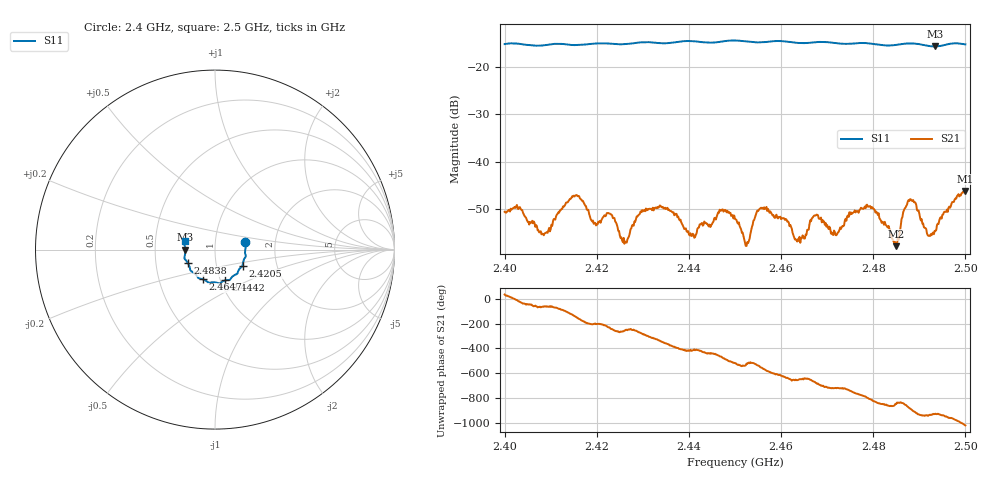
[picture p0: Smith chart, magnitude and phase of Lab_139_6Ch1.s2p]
# Hz S RI R 50
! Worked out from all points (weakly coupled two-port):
!   601 points, 2.4 GHz to 2.5 GHz, reference 50 ohm
!   highest |S21| = -46.14 dB at 2.5 GHz (marker M1); lowest = -57.8 dB at 2.485 GHz (marker M2)
!   lowest |S11| = -15.7 dB at 2.4933 GHz (marker M3), VSWR 1.39, Z = 35.9 - j0.0705 ohm
!   |S11| at or under -10 dB: start of sweep to end of sweep
!   S12 and S22 are empty: the file has one direction only
!   S11 on the Smith chart (normalised r, x): 2.4 GHz: 1.40, +0.12; 2.4205 GHz: 1.34, -0.24; 2.4442 GHz: 1.06, -0.37; 2.4647 GHz: 0.83, -0.29; 2.4838 GHz: 0.73, -0.11; 2.5 GHz: 0.71, +0.07
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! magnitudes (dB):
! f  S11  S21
! 2.4 GHz  -15.2  -50.5
! 2.4085 GHz  -15.4  -55.5
! 2.4167 GHz  -15.3  -48.0
! 2.4205 GHz  -15.0  -52.8
! 2.4228 GHz  -15.1  -50.9
! 2.4262 GHz  -15.2  -56.8
! 2.4333 GHz  -14.9  -49.7
! 2.4407 GHz  -14.5  -55.6
! 2.4442 GHz  -14.9  -53.4
! 2.45 GHz  -14.4  -52.1
! 2.4525 GHz  -14.6  -57.7
! 2.4558 GHz  -14.8  -49.8
! 2.4647 GHz  -15.0  -55.5
! 2.4667 GHz  -14.8  -51.9
! 2.4717 GHz  -14.9  -54.8
! 2.479 GHz  -15.0  -49.5
! 2.4833 GHz  -15.5  -53.5
! 2.4838 GHz  -15.5  -54.8
! 2.485 GHz  -15.3  -57.8
! 2.488 GHz  -15.0  -47.9
! 2.4933 GHz  -15.7  -54.6
! 2.5 GHz  -15.2  -46.1
